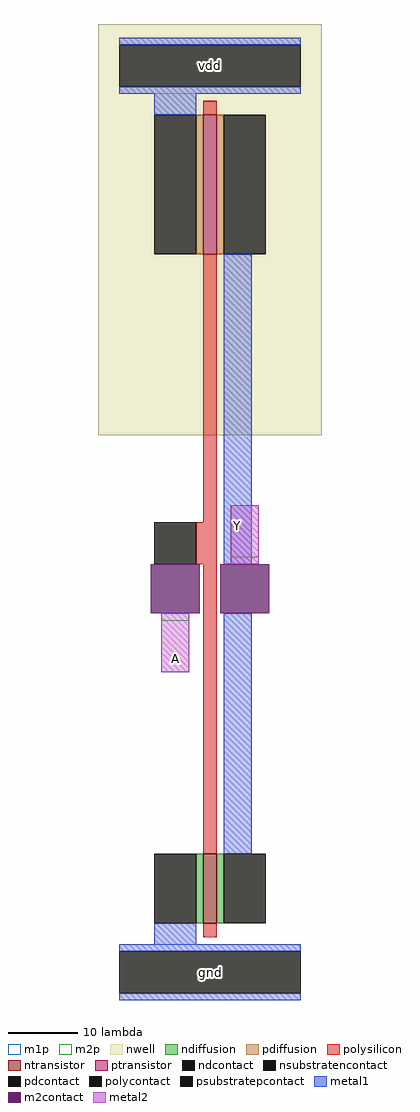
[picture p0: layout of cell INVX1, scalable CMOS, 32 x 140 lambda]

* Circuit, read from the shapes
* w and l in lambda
.subckt INVX1 A Y vdd gnd
M1 Y A gnd gnd nfet w=10 l=2
M2 Y A vdd vdd pfet w=20 l=2
.ends

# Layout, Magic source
magic
tech scmos
magscale 1 2
<< nwell >>
rect -12 154 52 272
<< ntransistor >>
rect 18 14 22 34
<< ptransistor >>
rect 18 206 22 246
<< ndiffusion >>
rect 16 14 18 34
rect 22 14 24 34
<< pdiffusion >>
rect 16 206 18 246
rect 22 206 24 246
<< ndcontact >>
rect 4 14 16 34
rect 24 14 36 34
<< pdcontact >>
rect 4 206 16 246
rect 24 206 36 246
<< psubstratepcontact >>
rect -6 -6 46 6
<< nsubstratencontact >>
rect -6 254 46 266
<< polysilicon >>
rect 18 246 22 250
rect 18 129 22 206
rect 16 117 22 129
rect 18 34 22 117
rect 18 10 22 14
<< polycontact >>
rect 4 117 16 129
<< metal1 >>
rect -6 266 46 268
rect -6 252 46 254
rect 4 246 16 252
rect 24 117 32 206
rect 24 34 32 103
rect 4 8 16 14
rect -6 6 46 8
rect -6 -8 46 -6
<< m2contact >>
rect 3 103 17 117
rect 23 103 37 117
<< metal2 >>
rect 26 117 34 134
rect 6 86 14 103
<< m1p >>
rect -6 252 46 268
rect -6 -8 46 8
<< m2p >>
rect 26 119 34 134
rect 6 86 14 101
<< labels >>
rlabel metal2 10 90 10 90 1 A
port 1 n signal input
rlabel metal2 28 128 28 128 1 Y
port 2 n signal output
rlabel metal1 -6 252 46 268 0 vdd
port 3 nsew power bidirectional abutment
rlabel metal1 -6 -8 46 8 0 gnd
port 4 nsew ground bidirectional abutment
<< properties >>
string FIXED_BBOX 0 0 40 260
string LEFclass CORE
string LEFsite core
string LEFsymmetry X Y
<< end >>
